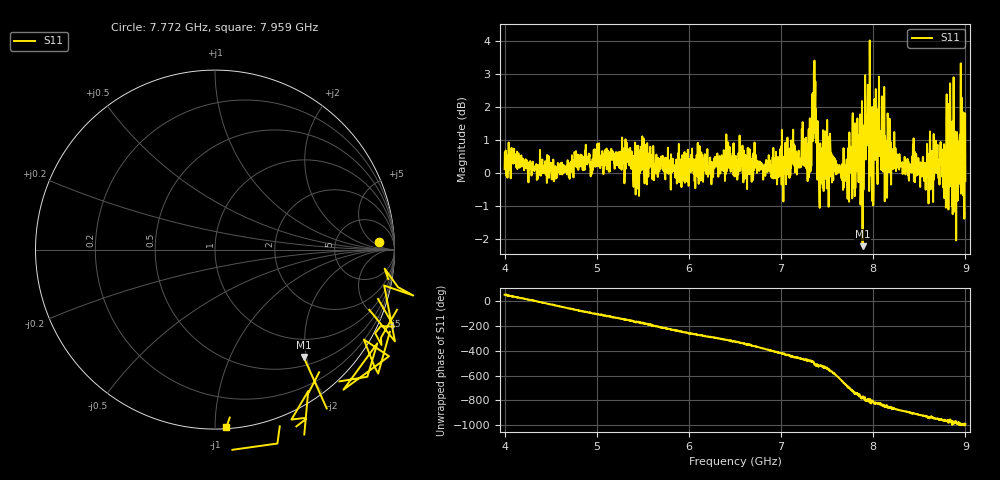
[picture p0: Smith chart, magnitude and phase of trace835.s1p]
! Created with skrf 1.8.0 (http://scikit-rf.org).
# Hz S RI R 50.0
!freq ReS11 ImS11
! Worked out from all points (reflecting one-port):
!   1601 points, 4 GHz to 9 GHz, reference 50 ohm
!   lowest |S11| = -2.2 dB at 7.884 GHz (marker M1), VSWR 7.92, Z = 32.4 - j97.4 ohm
!   phase of S11 starts at 52 deg and turns -1043 deg over the sweep
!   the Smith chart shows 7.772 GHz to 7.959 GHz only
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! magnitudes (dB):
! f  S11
! 4 GHz  0.1
! 4.625 GHz  0.0
! 5.25 GHz  0.2
! 5.875 GHz  0.2
! 6.5 GHz  -0.1
! 7.038 GHz  0.3
! 7.125 GHz  0.4
! 7.297 GHz  1.1
! 7.359 GHz  2.6
! 7.381 GHz  0.9
! 7.4 GHz  0.7
! 7.428 GHz  0.4
! 7.525 GHz  1.1
! 7.697 GHz  0.1
! 7.75 GHz  0.0
! 7.884 GHz  -2.2
! 7.928 GHz  1.7
! 7.962 GHz  4.0
! 7.981 GHz  -0.1
! 8.038 GHz  1.0
! 8.128 GHz  1.1
! 8.375 GHz  0.1
! 8.766 GHz  0.5
! 8.819 GHz  0.7
! 8.875 GHz  0.9
! 8.919 GHz  -0.3
! 8.956 GHz  0.3
! 9 GHz  -0.2
